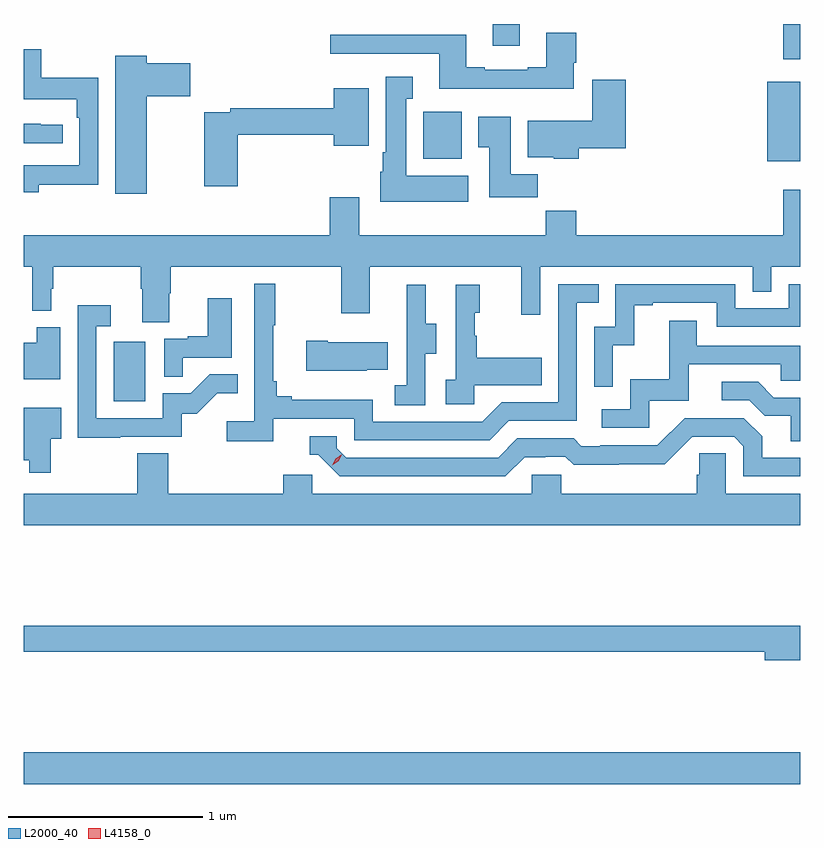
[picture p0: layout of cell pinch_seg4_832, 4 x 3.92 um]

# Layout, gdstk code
import gdstk
lib = gdstk.Library(unit=1e-6, precision=1e-09)
def R(c, l, rs):  # rectangles x0, y0, x1, y1
    for r in rs: c.add(gdstk.rectangle(r[:2], r[2:], *l))
def P(c, l, *ps):  # polygons
    for p in ps: c.add(gdstk.Polygon(p, *l))
L2000_40 = (2000, 40)
L4158_0 = (4158, 0)

pinch_seg4_832 = lib.new_cell('pinch_seg4_832')
R(pinch_seg4_832, L2000_40, [(861.493,806.144,865.493,806.308), (861.956,808.116,862.12,808.423), (865.322,809.351,865.493,809.761), (863.552,809.366,863.749,809.608), (865.405,809.877,865.493,810.059), (863.909,809.946,864.049,810.059)])
P(pinch_seg4_832, L2000_40, [(864.325,809.86),(864.338,809.86),(864.338,810.013),(864.185,810.013),(864.185,809.836),(864.089,809.836),(864.089,809.823),(863.869,809.823),(863.869,809.836),(863.773,809.836),(863.773,810.004),(863.073,810.004),(863.073,809.907),(863.633,809.907),(863.633,809.726),(864.325,809.726)],
  [(861.571,809.23),(861.876,809.23),(861.876,809.782),(861.583,809.782),(861.583,809.928),(861.493,809.928),(861.493,809.672),(861.767,809.672),(861.767,809.576),(861.78,809.576),(861.78,809.331),(861.493,809.331),(861.493,809.192),(861.571,809.192)],
  [(862.126,809.687),(862.351,809.687),(862.351,809.857),(862.126,809.857),(862.126,809.896),(861.965,809.896),(861.965,809.184),(862.126,809.184)],
  [(863.782,809.278),(863.464,809.278),(863.464,809.675),(863.497,809.675),(863.497,809.788),(863.357,809.788),(863.357,809.398),(863.342,809.398),(863.342,809.298),(863.33,809.298),(863.33,809.144),(863.782,809.144)],
  [(864.353,809.42),(864.593,809.42),(864.593,809.773),(864.422,809.773),(864.422,809.56),(864.089,809.56),(864.089,809.372),(864.222,809.372),(864.222,809.366),(864.353,809.366)],
  [(862.595,809.488),(863.09,809.488),(863.09,809.432),(863.269,809.432),(863.269,809.728),(863.09,809.728),(863.09,809.624),(862.558,809.624),(862.558,809.604),(862.424,809.604),(862.424,809.223),(862.595,809.223)],
  [(864.14,809.284),(864.001,809.284),(864.001,809.581),(863.834,809.581),(863.834,809.425),(863.891,809.425),(863.891,809.166),(864.14,809.166)],
  [(861.694,809.541),(861.581,809.541),(861.581,809.546),(861.493,809.546),(861.493,809.445),(861.694,809.445)],
  [(862.243,808.671),(862.251,808.671),(862.251,808.808),(863.128,808.808),(863.128,808.569),(863.275,808.569),(863.275,808.808),(864.056,808.808),(864.056,808.56),(864.153,808.56),(864.153,808.808),(865.248,808.808),(865.248,808.681),(865.344,808.681),(865.344,808.808),(865.493,808.808),(865.493,809.206),(865.405,809.206),(865.405,808.972),(864.338,808.972),(864.338,809.096),(864.181,809.096),(864.181,808.972),(863.221,808.972),(863.221,809.167),(863.069,809.167),(863.069,808.972),(861.493,808.972),(861.493,808.808),(861.536,808.808),(861.536,808.583),(861.634,808.583),(861.634,808.696),(861.646,808.696),(861.646,808.808),(862.096,808.808),(862.096,808.696),(862.103,808.696),(862.103,808.522),(862.243,808.522)],
  [(862.778,808.026),(863.196,808.026),(863.196,807.915),(863.893,807.915),(863.992,808.014),(864.342,808.014),(864.342,808.623),(864.455,808.623),(864.455,808.719),(864.246,808.719),(864.246,808.11),(863.955,808.11),(863.856,808.011),(863.292,808.011),(863.292,808.123),(862.873,808.123),(862.873,808.142),(862.796,808.142),(862.796,808.219),(862.777,808.219),(862.777,808.507),(862.789,808.507),(862.789,808.72),(862.68,808.72),(862.68,808.012),(862.539,808.012),(862.539,807.91),(862.778,807.91)],
  [(864.528,808.403),(864.638,808.403),(864.638,808.611),(864.733,808.611),(864.733,808.623),(865.062,808.623),(865.062,808.5),(865.493,808.5),(865.493,808.719),(865.434,808.719),(865.434,808.596),(865.158,808.596),(865.158,808.719),(864.54,808.719),(864.54,808.5),(864.432,808.5),(864.432,808.191),(864.528,808.191)],
  [(863.814,808.199),(864.161,808.199),(864.161,808.339),(863.827,808.339),(863.827,808.454),(863.817,808.454),(863.817,808.572),(863.842,808.572),(863.842,808.717),(863.718,808.717),(863.718,808.226),(863.667,808.226),(863.667,808.101),(863.814,808.101)],
  [(863.562,808.36),(863.617,808.36),(863.617,808.515),(863.563,808.515),(863.563,808.717),(863.465,808.717),(863.465,808.503),(863.466,808.503),(863.466,808.199),(863.403,808.199),(863.403,808.096),(863.562,808.096)],
  [(862.313,808.341),(862.564,808.341),(862.564,808.645),(862.442,808.645),(862.442,808.45),(862.339,808.45),(862.339,808.437),(862.218,808.437),(862.218,808.243),(862.313,808.243)],
  [(861.989,807.933),(862.308,807.933),(862.308,808.05),(862.384,808.05),(862.491,808.157),(862.595,808.157),(862.595,808.256),(862.452,808.256),(862.354,808.158),(862.209,808.158),(862.209,808.029),(861.867,808.029),(861.867,808.503),(861.94,808.503),(861.94,808.609),(861.771,808.609),(861.771,807.928),(861.989,807.928)],
  [(864.714,808.119),(864.919,808.119),(864.919,808.305),(865.393,808.305),(865.393,808.221),(865.493,808.221),(865.493,808.401),(864.961,808.401),(864.961,808.531),(864.817,808.531),(864.817,808.228),(864.618,808.228),(864.618,808.074),(864.471,808.074),(864.471,807.978),(864.714,807.978)],
  [(861.682,808.498),(861.56,808.498),(861.56,808.417),(861.493,808.417),(861.493,808.229),(861.682,808.229)],
  [(863.261,808.277),(863.369,808.277),(863.369,808.42),(863.059,808.42),(863.059,808.428),(862.947,808.428),(862.947,808.274),(863.261,808.274)],
  [(865.493,808.134),(865.357,808.134),(865.276,808.215),(865.089,808.215),(865.089,808.122),(865.23,808.122),(865.31,808.042),(865.445,808.042),(865.445,807.91),(865.493,807.91)],
  [(861.631,807.923),(861.685,807.923),(861.685,808.081),(861.493,808.081),(861.493,807.812),(861.522,807.812),(861.522,807.747),(861.631,807.747)],
  [(864.073,807.828),(864.18,807.828),(864.18,807.831),(864.283,807.831),(864.325,807.789),(864.558,807.789),(864.558,807.791),(864.794,807.791),(864.936,807.933),(865.152,807.933),(865.2,807.885),(865.2,807.729),(865.493,807.729),(865.493,807.825),(865.297,807.825),(865.297,807.935),(865.203,808.029),(864.897,808.029),(864.756,807.888),(864.463,807.888),(864.463,807.885),(864.364,807.885),(864.325,807.924),(864.036,807.924),(863.937,807.825),(863.154,807.825),(863.106,807.873),(863.106,807.936),(862.967,807.936),(862.967,807.84),(863.01,807.84),(863.121,807.729),(863.974,807.729)],
  [(862.078,807.848),(862.078,807.64),(861.493,807.64),(861.493,807.476),(865.493,807.476),(865.493,807.64),(865.11,807.64),(865.11,807.848),(864.973,807.848),(864.973,807.738),(864.959,807.738),(864.959,807.64),(864.261,807.64),(864.261,807.738),(864.111,807.738),(864.111,807.64),(862.98,807.64),(862.98,807.738),(862.829,807.738),(862.829,807.64),(862.238,807.64),(862.238,807.848)],
  [(865.493,806.96),(861.493,806.96),(861.493,806.824),(865.31,806.824),(865.31,806.782),(865.493,806.782)])
P(pinch_seg4_832, L4158_0, [(863.083,807.786),(863.083,807.787),(863.099,807.82),(863.129,807.84),(863.13,807.84),(863.13,807.839),(863.114,807.806),(863.083,807.786)])

lib.write_gds('pinch_seg4_832.gds')
